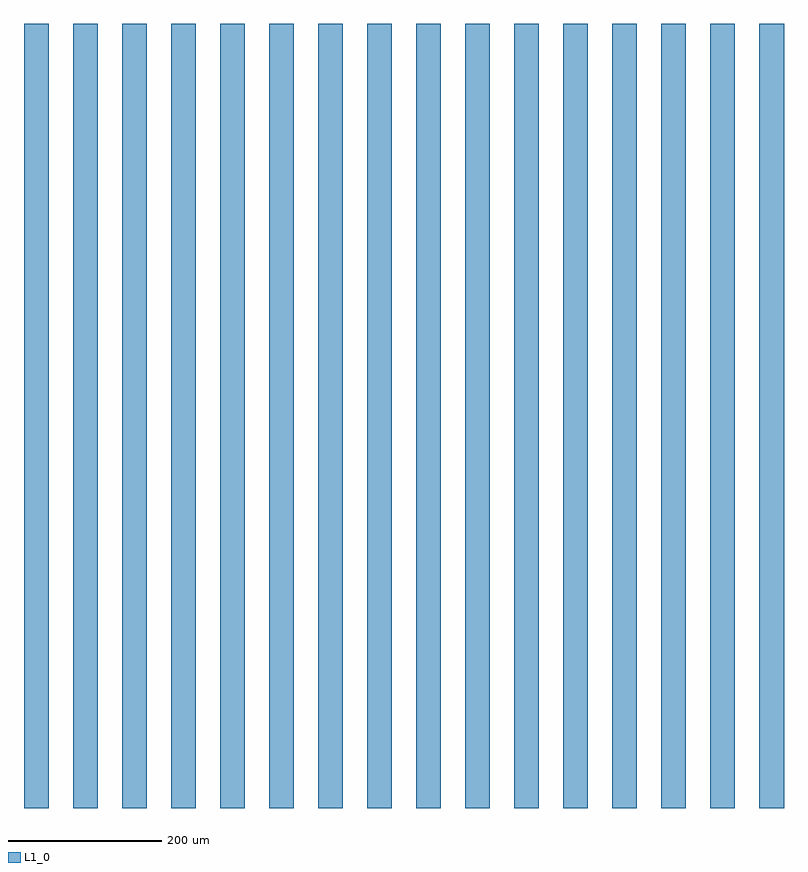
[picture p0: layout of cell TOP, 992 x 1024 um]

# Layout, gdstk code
import gdstk
lib = gdstk.Library(unit=1e-6, precision=1e-09)
def R(c, l, rs):  # rectangles x0, y0, x1, y1
    for r in rs: c.add(gdstk.rectangle(r[:2], r[2:], *l))
def A(c, l, x, y, w, h, nx, ny, dx, dy):  # array of equal rectangles
    R(c, l, [(x+i*dx, y+j*dy, x+i*dx+w, y+j*dy+h) for i in range(nx) for j in range(ny)])
L1_0 = (1, 0)

top = lib.new_cell('TOP')
A(top, L1_0, 0, 0, 32, 1024, 16, 1, 64, 0)

lib.write_gds('TOP.gds')
